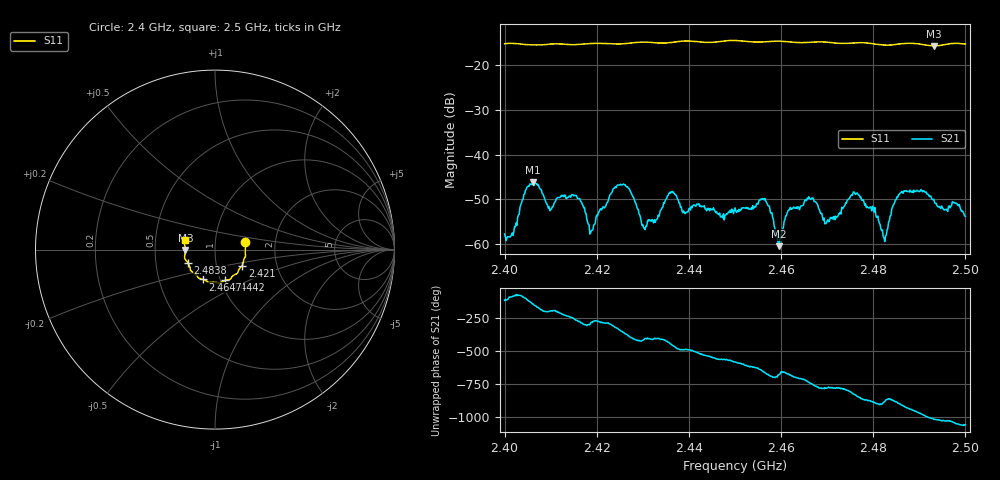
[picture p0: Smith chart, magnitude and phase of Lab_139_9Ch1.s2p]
# Hz S RI R 50
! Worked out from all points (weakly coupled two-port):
!   601 points, 2.4 GHz to 2.5 GHz, reference 50 ohm
!   highest |S21| = -46.10 dB at 2.4062 GHz (marker M1); lowest = -60.4 dB at 2.4595 GHz (marker M2)
!   lowest |S11| = -15.7 dB at 2.4932 GHz (marker M3), VSWR 1.39, Z = 35.9 - j0.116 ohm
!   |S11| at or under -10 dB: start of sweep to end of sweep
!   S12 and S22 are empty: the file has one direction only
!   S11 on the Smith chart (normalised r, x): 2.4 GHz: 1.40, +0.12; 2.421 GHz: 1.33, -0.24; 2.4442 GHz: 1.05, -0.37; 2.4647 GHz: 0.83, -0.28; 2.4838 GHz: 0.73, -0.11; 2.5 GHz: 0.71, +0.08
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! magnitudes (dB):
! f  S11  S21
! 2.4 GHz  -15.2  -57.7
! 2.4062 GHz  -15.5  -46.1
! 2.4167 GHz  -15.3  -50.6
! 2.4187 GHz  -15.1  -57.4
! 2.421 GHz  -15.1  -52.4
! 2.4257 GHz  -15.2  -46.6
! 2.4302 GHz  -14.8  -56.4
! 2.4333 GHz  -15.0  -53.5
! 2.4362 GHz  -14.9  -48.2
! 2.4442 GHz  -14.9  -52.3
! 2.45 GHz  -14.5  -51.9
! 2.4562 GHz  -14.8  -49.9
! 2.4595 GHz  -14.6  -60.4
! 2.4647 GHz  -14.9  -51.4
! 2.4667 GHz  -14.8  -49.7
! 2.47 GHz  -14.8  -54.8
! 2.4762 GHz  -15.0  -48.9
! 2.4833 GHz  -15.5  -55.1
! 2.4838 GHz  -15.5  -53.6
! 2.4867 GHz  -15.1  -48.1
! 2.4932 GHz  -15.7  -50.0
! 2.5 GHz  -15.3  -53.8
